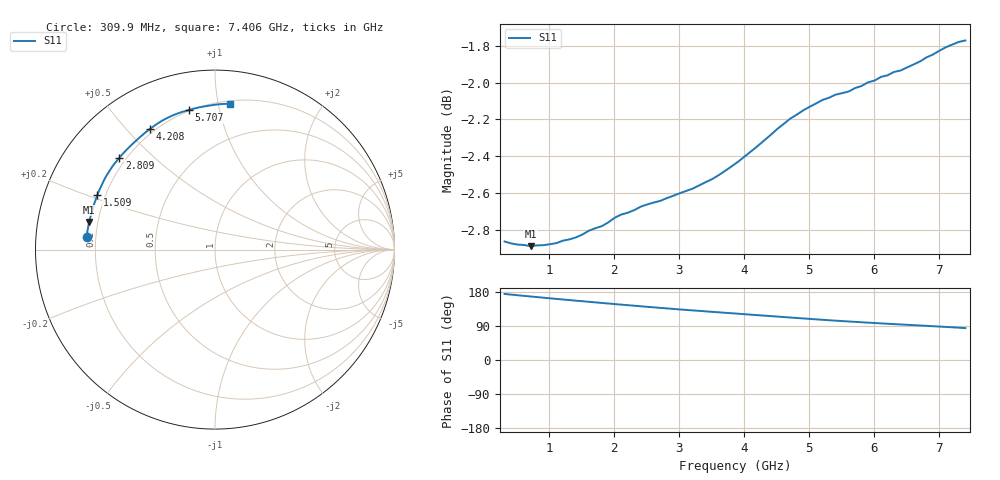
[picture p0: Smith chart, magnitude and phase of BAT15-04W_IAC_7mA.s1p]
! Infineon Technologies  Discrete & RF Semiconductors
! BAT15-04W-E6327
! IAC = 7 mA
! One-Port S-Parameters
# Hz  S  MA  R  50
!f  S11
!Hz  Mag  Ang
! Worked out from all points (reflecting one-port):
!   72 points, 309.9 MHz to 7.406 GHz, reference 50 ohm
!   lowest |S11| = -2.9 dB at 709.6 MHz (marker M1), VSWR 6.07, Z = 8.33 + j5.27 ohm
!   phase of S11 starts at 174 deg and turns -90 deg over the sweep
!   S11 on the Smith chart (normalised r, x): 309.9 MHz: 0.16, +0.05; 1.509 GHz: 0.17, +0.21; 2.809 GHz: 0.17, +0.39; 4.208 GHz: 0.18, +0.58; 5.707 GHz: 0.19, +0.81; 7.406 GHz: 0.22, +1.08
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3.0985e8  0.7192 174.3
6.097e8  0.7176 169.2
7.0965e8  0.7171 167.6
1.0095e9  0.718 162.7
1.2094e9  0.7196 159.7
1.50925e9  0.7224 155.1
1.70915e9  0.7252 152.0
2.10895e9  0.7315 146.1
2.4088e9  0.7351 141.8
2.50875e9  0.7361 140.3
2.8086e9  0.739 136.2
3.0085e9  0.7412 133.5
3.30835e9  0.7449 129.6
3.90805e9  0.756 122.1
4.2079e9  0.7635 118.3
4.50775e9  0.7716 114.6
4.8076e9  0.7785 110.9
5.2074e9  0.7858 106.1
5.4073e9  0.7884 103.8
5.6072e9  0.7899 101.6
5.70715e9  0.7916 100.7
5.8071e9  0.7926 99.6
6.10695e9  0.7971 96.7
6.30685e9  0.7996 94.7
6.6067e9  0.8033 92.0
6.8066e9  0.8069 90.2
7.10645e9  0.8121 87.3
7.4063e9  0.8155 84.2
